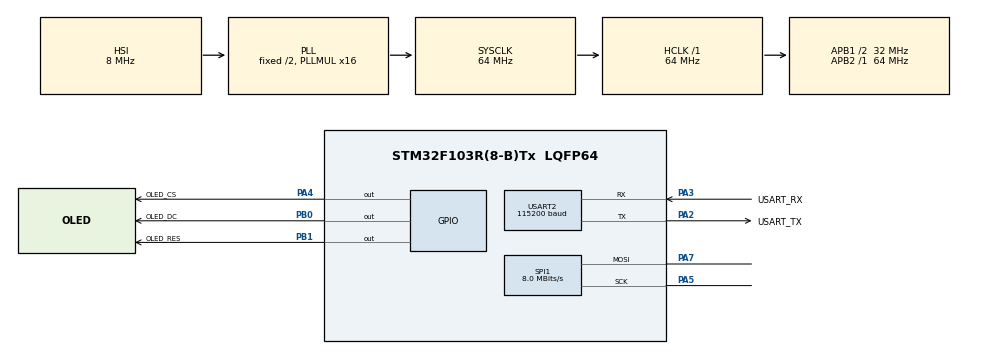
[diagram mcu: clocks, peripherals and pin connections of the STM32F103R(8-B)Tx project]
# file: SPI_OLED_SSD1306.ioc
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Mcu.Family=STM32F1
Mcu.Name=STM32F103R(8-B)Tx
Mcu.Package=LQFP64
NVIC.PriorityGroup=NVIC_PRIORITYGROUP_4
PA13.GPIO_Label=TMS
PA13.Mode=Serial_Wire
PA13.Signal=SYS_JTMS-SWDIO
PA14.GPIO_Label=TCK
PA14.Mode=Serial_Wire
PA14.Signal=SYS_JTCK-SWCLK
PA2.GPIO_Label=USART_TX
PA2.GPIO_Mode=GPIO_MODE_AF_PP
PA2.GPIO_PuPd=GPIO_NOPULL
PA2.GPIO_Speed=GPIO_SPEED_FREQ_LOW
PA2.Mode=Asynchronous
PA2.Signal=USART2_TX
PA3.GPIO_Label=USART_RX
PA3.GPIO_PuPd=GPIO_NOPULL
PA3.GPIO_Speed=GPIO_SPEED_FREQ_LOW
PA3.Mode=Asynchronous
PA3.Signal=USART2_RX
PA4.GPIO_Label=OLED_CS
PA4.GPIO_ModeDefaultOutputPP=GPIO_MODE_OUTPUT_PP
PA4.GPIO_PuPd=GPIO_NOPULL
PA4.GPIO_Speed=GPIO_SPEED_FREQ_HIGH
PA4.PinState=GPIO_PIN_SET
PA4.Signal=GPIO_Output
PA5.GPIO_Speed=GPIO_SPEED_FREQ_HIGH
PA5.Mode=Half_Duplex_Master
PA5.Signal=SPI1_SCK
PA7.GPIO_Speed=GPIO_SPEED_FREQ_HIGH
PA7.Mode=Half_Duplex_Master
PA7.Signal=SPI1_MOSI
PB0.GPIO_Label=OLED_DC
PB0.GPIO_ModeDefaultOutputPP=GPIO_MODE_OUTPUT_PP
PB0.GPIO_PuPd=GPIO_NOPULL
PB0.GPIO_Speed=GPIO_SPEED_FREQ_HIGH
PB0.Signal=GPIO_Output
PB1.GPIO_Label=OLED_RES
PB1.GPIO_ModeDefaultOutputPP=GPIO_MODE_OUTPUT_PP
PB1.GPIO_PuPd=GPIO_NOPULL
PB1.GPIO_Speed=GPIO_SPEED_FREQ_HIGH
PB1.Signal=GPIO_Output
PB3.GPIO_Label=SWO
PB3.Signal=SYS_JTDO-TRACESWO
PC14-OSC32_IN.Mode=LSE-External-Oscillator
PC14-OSC32_IN.Signal=RCC_OSC32_IN
PC15-OSC32_OUT.Mode=LSE-External-Oscillator
PC15-OSC32_OUT.Signal=RCC_OSC32_OUT
PD0-OSC_IN.Mode=HSE-External-Clock-Source
PD0-OSC_IN.Signal=RCC_OSC_IN
PD1-OSC_OUT.Mode=HSE-External-Clock-Source
PD1-OSC_OUT.Signal=RCC_OSC_OUT
ProjectManager.HeapSize=0x200
ProjectManager.StackSize=0x400
ProjectManager.TargetToolchain=STM32CubeIDE
RCC.AHBFreq_Value=64000000
RCC.APB1CLKDivider=RCC_HCLK_DIV2
RCC.APB1Freq_Value=32000000
RCC.APB1TimFreq_Value=64000000
RCC.APB2Freq_Value=64000000
RCC.APB2TimFreq_Value=64000000
RCC.HCLKFreq_Value=64000000
RCC.PLLMUL=RCC_PLL_MUL16
RCC.RTCClockSelection=RCC_RTCCLKSOURCE_LSE
RCC.SYSCLKFreq_VALUE=64000000
RCC.SYSCLKSource=RCC_SYSCLKSOURCE_PLLCLK
RCC.USBFreq_Value=64000000
SPI1.BaudRatePrescaler=SPI_BAUDRATEPRESCALER_8
SPI1.CalculateBaudRate=8.0 MBits/s
SPI1.Direction=SPI_DIRECTION_1LINE
SPI1.Mode=SPI_MODE_MASTER
SPI1.VirtualType=VM_MASTER
USART2.BaudRate=115200
USART2.VirtualMode=VM_ASYNC
board=NUCLEO-F103RB

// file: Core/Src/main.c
/* USER CODE BEGIN Header */
/**
 ******************************************************************************
 * @file           : main.c
 * @brief          : Main program body
 ******************************************************************************
 * @attention
 *
 * Copyright (c) 2026 STMicroelectronics.
 * All rights reserved.
 *
 * This software is licensed under terms that can be found in the LICENSE file
 * in the root directory of this software component.
 * If no LICENSE file comes with this software, it is provided AS-IS.
 *
 ******************************************************************************
 */
/**
 * 03_SPI_OLED_SSD1306_c  —  [계층: HAL]  SPI 로 SSD1306 128x64 OLED 구동 (7핀 SPI 모듈)
 *
 * 04_I2C_Communication/06_I2C_OLED_SSD1306 과 같은 화면(프레임버퍼, 선, 공, 프레임 번호/FPS)을 SPI 로 그린다. 통신 방식 차이가 핵심이다.
 *   I2C : 제어 바이트(0x00/0x40)가 명령/데이터를 구분, 최대 400kHz 라 한 프레임 약 23ms
 *   SPI : 별도 D/C 핀(Data/Command)이 명령/데이터를 구분, 8MHz 이상 가능해 한 프레임 약 1ms -> 훨씬 빠른 애니메이션
 *
 * 배선 (7핀 SPI OLED 모듈: GND VCC SCL SDA RES DC CS)
 *   GND, VCC=3.3V
 *   SCL(SCK)  = PA5 (SPI1_SCK, 'D13' — 온보드 LD2 와 같은 핀이라 LED 가 흐릿하게 켜진다)
 *   SDA(MOSI) = PA7 (SPI1_MOSI, 'D11')
 *   RES       = PB1  (하드웨어 리셋, 시작할 때 Low 펄스)
 *   DC        = PB0  (Low = 명령, High = 표시 데이터)
 *   CS        = PA4  (칩 선택, Low 에서 유효. 소프트웨어 GPIO 로 제어)
 *
 * SPI 설정: 마스터, 모드 0 (CPOL=0, CPHA=0), 8비트, MSB 먼저, 클럭 = 64MHz/8 = 8MHz (SSD1306 최대 약 10MHz)
 *   SPI1->CR1: MSTR=1, BR=010(/8), CPOL=0, CPHA=0, SSM=1, SSI=1
 *
 * 글꼴은 3x5 픽셀로 숫자/일부 문자만 내장했다 (I2C 예제와 동일). 인터럽트를 사용하지 않는다 (블로킹 SPI, DMA 로 바꾸려면
 * 05_SPI_Communication/02_SPI_DMA_Fullduplex 참고).
 */
/* USER CODE END Header */
#include "main.h"

/* USER CODE BEGIN Includes */
#include <stdio.h>
#include <string.h>
/* USER CODE END Includes */

/* USER CODE BEGIN PD */
#define OLED_W 128
#define OLED_H 64

#define CS_LOW()   HAL_GPIO_WritePin(OLED_CS_GPIO_Port, OLED_CS_Pin, GPIO_PIN_RESET)
#define CS_HIGH()  HAL_GPIO_WritePin(OLED_CS_GPIO_Port, OLED_CS_Pin, GPIO_PIN_SET)
#define DC_CMD()   HAL_GPIO_WritePin(OLED_DC_GPIO_Port, OLED_DC_Pin, GPIO_PIN_RESET)
#define DC_DATA()  HAL_GPIO_WritePin(OLED_DC_GPIO_Port, OLED_DC_Pin, GPIO_PIN_SET)

/* USER CODE END PD */

SPI_HandleTypeDef hspi1;
UART_HandleTypeDef huart2;

/* USER CODE BEGIN PV */
static uint8_t fb[OLED_W * OLED_H / 8];
/* USER CODE END PV */

void SystemClock_Config(void);
static void MX_GPIO_Init(void);
static void MX_SPI1_Init(void);
static void MX_USART2_UART_Init(void);

/* USER CODE BEGIN 0 */
/* ---------------- SSD1306 저수준 (SPI) ---------------- */
static void oled_cmds(const uint8_t *c, uint16_t n)
{
    DC_CMD();  CS_LOW();
    HAL_SPI_Transmit(&hspi1, (uint8_t *)c, n, 100);
    CS_HIGH();
}

static void oled_init(void)
{
    HAL_GPIO_WritePin(OLED_RES_GPIO_Port, OLED_RES_Pin, GPIO_PIN_RESET);   /* RES: Low 펄스로 리셋 */
    HAL_Delay(10);
    HAL_GPIO_WritePin(OLED_RES_GPIO_Port, OLED_RES_Pin, GPIO_PIN_SET);
    HAL_Delay(10);

    static const uint8_t init[] = {
        0xAE, 0xD5, 0x80, 0xA8, 0x3F, 0xD3, 0x00, 0x40, 0x8D, 0x14, 0x20, 0x00,
        0xA1, 0xC8, 0xDA, 0x12, 0x81, 0xCF, 0xD9, 0xF1, 0xDB, 0x40, 0xA4, 0xA6, 0xAF
    };                                                      /* 각 명령의 의미는 I2C 예제 참고 */
    oled_cmds(init, sizeof init);
}

static void oled_flush(void)
{
    static const uint8_t win[] = { 0x21, 0, OLED_W - 1, 0x22, 0, 7 };
    oled_cmds(win, sizeof win);
    DC_DATA();  CS_LOW();
    HAL_SPI_Transmit(&hspi1, fb, sizeof fb, 100);           /* 1024바이트 = 8MHz 에서 약 1ms */
    CS_HIGH();
}

/* ---------------- 그리기 (프레임버퍼) ---------------- */
static void px(int x, int y, int on)
{
    if ((unsigned)x >= OLED_W || (unsigned)y >= OLED_H) return;
    uint8_t *b = &fb[(y >> 3) * OLED_W + x];
    if (on) *b |= (uint8_t)(1u << (y & 7)); else *b &= (uint8_t)~(1u << (y & 7));
}

static void fill_rect(int x, int y, int w, int h, int on)
{
    for (int j = 0; j < h; j++) for (int i = 0; i < w; i++) px(x + i, y + j, on);
}

static void rect(int x, int y, int w, int h)
{
    for (int i = 0; i < w; i++) { px(x + i, y, 1); px(x + i, y + h - 1, 1); }
    for (int j = 0; j < h; j++) { px(x, y + j, 1); px(x + w - 1, y + j, 1); }
}

static void line(int x0, int y0, int x1, int y1)
{
    int dx = x1 > x0 ? x1 - x0 : x0 - x1, sx = x0 < x1 ? 1 : -1;
    int dy = y1 > y0 ? y0 - y1 : y1 - y0, sy = y0 < y1 ? 1 : -1;
    int err = dx + dy;
    for (;;)
    {
        px(x0, y0, 1);
        if (x0 == x1 && y0 == y1) break;
        int e2 = 2 * err;
        if (e2 >= dy) { err += dy; x0 += sx; }
        if (e2 <= dx) { err += dx; y0 += sy; }
    }
}

static const struct { char c; uint8_t row[5]; } font[] = {
    {'0',{7,5,5,5,7}}, {'1',{2,6,2,2,7}}, {'2',{7,1,7,4,7}}, {'3',{7,1,7,1,7}}, {'4',{5,5,7,1,1}},
    {'5',{7,4,7,1,7}}, {'6',{7,4,7,5,7}}, {'7',{7,1,2,2,2}}, {'8',{7,5,7,5,7}}, {'9',{7,5,7,1,7}},
    {':',{0,2,0,2,0}}, {'.',{0,0,0,0,2}}, {'-',{0,0,7,0,0}}, {' ',{0,0,0,0,0}},
    {'F',{7,4,6,4,4}}, {'P',{7,5,7,4,4}}, {'S',{7,4,7,1,7}},
};

static void text(int x, int y, int scale, const char *s)
{
    for (; *s; s++, x += 4 * scale)
    {
        for (unsigned k = 0; k < sizeof font / sizeof font[0]; k++)
        {
            if (font[k].c != *s) continue;
            for (int r = 0; r < 5; r++)
                for (int c = 0; c < 3; c++)
                    if ((font[k].row[r] >> (2 - c)) & 1) fill_rect(x + c * scale, y + r * scale, scale, scale, 1);
            break;
        }
    }
}
/* USER CODE END 0 */

int main(void)
{

  /* MCU Configuration--------------------------------------------------------*/

  /* Reset of all peripherals, Initializes the Flash interface and the Systick. */
  HAL_Init();

  /* Configure the system clock */
  SystemClock_Config();

  /* Initialize all configured peripherals */
  MX_GPIO_Init();
  MX_SPI1_Init();
  MX_USART2_UART_Init();
  /* USER CODE BEGIN 2 */
  oled_init();

  int bx = 20, by = 20, vx = 2, vy = 1;
  uint32_t frame = 0, fps = 0, frames_this_sec = 0, t_sec = HAL_GetTick();
  char buf[24];
  /* USER CODE END 2 */

  /* Infinite loop */
  while (1)
  {

    /* USER CODE BEGIN 3 */
    memset(fb, 0, sizeof fb);
    rect(0, 0, OLED_W, OLED_H);
    line(0, 0, 127, 63);
    line(0, 63, 127, 0);

    bx += vx; by += vy;
    if (bx < 2 || bx > OLED_W - 6) { vx = -vx; bx += vx; }
    if (by < 2 || by > OLED_H - 6) { vy = -vy; by += vy; }
    fill_rect(bx, by, 4, 4, 1);

    snprintf(buf, sizeof buf, "%lu", (unsigned long)frame);
    text(6, 6, 3, buf);
    snprintf(buf, sizeof buf, "FPS %lu", (unsigned long)fps);
    text(6, 46, 2, buf);

    oled_flush();

    frame++; frames_this_sec++;
    if (HAL_GetTick() - t_sec >= 1000)
    {
        t_sec += 1000;
        fps = frames_this_sec; frames_this_sec = 0;
        char m[40];
        int n = snprintf(m, sizeof m, "FPS = %lu\r\n", (unsigned long)fps);
        HAL_UART_Transmit(&huart2, (uint8_t *)m, (uint16_t)n, 100);
    }
  }
  /* USER CODE END 3 */
}

void SystemClock_Config(void)
{
  RCC_OscInitTypeDef RCC_OscInitStruct = {0};
  RCC_ClkInitTypeDef RCC_ClkInitStruct = {0};

  /** Initializes the RCC Oscillators according to the specified parameters
  * in the RCC_OscInitTypeDef structure.
  */
  RCC_OscInitStruct.OscillatorType = RCC_OSCILLATORTYPE_HSI;
  RCC_OscInitStruct.HSIState = RCC_HSI_ON;
  RCC_OscInitStruct.HSICalibrationValue = RCC_HSICALIBRATION_DEFAULT;
  RCC_OscInitStruct.PLL.PLLState = RCC_PLL_ON;
  RCC_OscInitStruct.PLL.PLLSource = RCC_PLLSOURCE_HSI_DIV2;
  RCC_OscInitStruct.PLL.PLLMUL = RCC_PLL_MUL16;
  if (HAL_RCC_OscConfig(&RCC_OscInitStruct) != HAL_OK)
  {
    Error_Handler();
  }

  /** Initializes the CPU, AHB and APB buses clocks
  */
  RCC_ClkInitStruct.ClockType = RCC_CLOCKTYPE_HCLK|RCC_CLOCKTYPE_SYSCLK
                              |RCC_CLOCKTYPE_PCLK1|RCC_CLOCKTYPE_PCLK2;
  RCC_ClkInitStruct.SYSCLKSource = RCC_SYSCLKSOURCE_PLLCLK;
  RCC_ClkInitStruct.AHBCLKDivider = RCC_SYSCLK_DIV1;
  RCC_ClkInitStruct.APB1CLKDivider = RCC_HCLK_DIV2;
  RCC_ClkInitStruct.APB2CLKDivider = RCC_HCLK_DIV1;

  if (HAL_RCC_ClockConfig(&RCC_ClkInitStruct, FLASH_LATENCY_2) != HAL_OK)
  {
    Error_Handler();
  }
}

static void MX_GPIO_Init(void)
{
  GPIO_InitTypeDef GPIO_InitStruct = {0};

  /* GPIO Ports Clock Enable */
  __HAL_RCC_GPIOC_CLK_ENABLE();
  __HAL_RCC_GPIOD_CLK_ENABLE();
  __HAL_RCC_GPIOA_CLK_ENABLE();
  __HAL_RCC_GPIOB_CLK_ENABLE();

  /*Configure GPIO pin Output Level */
  HAL_GPIO_WritePin(OLED_CS_GPIO_Port, OLED_CS_Pin, GPIO_PIN_SET);
  HAL_GPIO_WritePin(GPIOB, OLED_DC_Pin|OLED_RES_Pin, GPIO_PIN_RESET);

  /*Configure GPIO pin : OLED_CS_Pin */
  GPIO_InitStruct.Pin = OLED_CS_Pin;
  GPIO_InitStruct.Mode = GPIO_MODE_OUTPUT_PP;
  GPIO_InitStruct.Pull = GPIO_NOPULL;
  GPIO_InitStruct.Speed = GPIO_SPEED_FREQ_HIGH;
  HAL_GPIO_Init(OLED_CS_GPIO_Port, &GPIO_InitStruct);

  /*Configure GPIO pins : OLED_DC_Pin OLED_RES_Pin */
  GPIO_InitStruct.Pin = OLED_DC_Pin|OLED_RES_Pin;
  GPIO_InitStruct.Mode = GPIO_MODE_OUTPUT_PP;
  GPIO_InitStruct.Pull = GPIO_NOPULL;
  GPIO_InitStruct.Speed = GPIO_SPEED_FREQ_HIGH;
  HAL_GPIO_Init(GPIOB, &GPIO_InitStruct);

}

static void MX_SPI1_Init(void)
{

  /* SPI1 parameter configuration*/
  hspi1.Instance = SPI1;
  hspi1.Init.Mode = SPI_MODE_MASTER;
  hspi1.Init.Direction = SPI_DIRECTION_1LINE;
  hspi1.Init.DataSize = SPI_DATASIZE_8BIT;
  hspi1.Init.CLKPolarity = SPI_POLARITY_LOW;
  hspi1.Init.CLKPhase = SPI_PHASE_1EDGE;
  hspi1.Init.NSS = SPI_NSS_SOFT;
  hspi1.Init.BaudRatePrescaler = SPI_BAUDRATEPRESCALER_8;
  hspi1.Init.FirstBit = SPI_FIRSTBIT_MSB;
  hspi1.Init.TIMode = SPI_TIMODE_DISABLE;
  hspi1.Init.CRCCalculation = SPI_CRCCALCULATION_DISABLE;
  hspi1.Init.CRCPolynomial = 10;
  if (HAL_SPI_Init(&hspi1) != HAL_OK)
  {
    Error_Handler();
  }

}

static void MX_USART2_UART_Init(void)
{

  huart2.Instance = USART2;
  huart2.Init.BaudRate = 115200;
  huart2.Init.WordLength = UART_WORDLENGTH_8B;
  huart2.Init.StopBits = UART_STOPBITS_1;
  huart2.Init.Parity = UART_PARITY_NONE;
  huart2.Init.Mode = UART_MODE_TX_RX;
  huart2.Init.HwFlowCtl = UART_HWCONTROL_NONE;
  huart2.Init.OverSampling = UART_OVERSAMPLING_16;
  if (HAL_UART_Init(&huart2) != HAL_OK)
  {
    Error_Handler();
  }

}

void Error_Handler(void)
{
  __disable_irq();
  while (1) {
  }
}
#ifdef USE_FULL_ASSERT
/**
  * @brief  Reports the name of the source file and the source line number
  *         where the assert_param error has occurred.
  * @param  file: pointer to the source file name
  * @param  line: assert_param error line source number
  * @retval None
  */
void assert_failed(uint8_t *file, uint32_t line)
{
  /* USER CODE BEGIN 6 */
  /* User can add his own implementation to report the file name and line
     number, ex: printf("Wrong parameters value: file %s on line %d\r\n", file,
     line) */
  /* USER CODE END 6 */
}
#endif /* USE_FULL_ASSERT */
